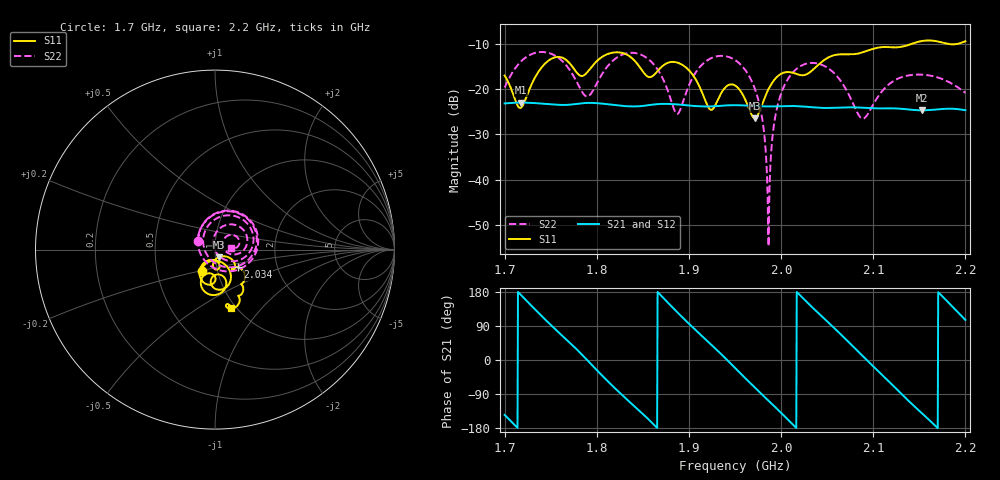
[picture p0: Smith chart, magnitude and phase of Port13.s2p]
# Hz S RI R 50
! CMT, CMT808U, 21440046, 21.4.3/4
! Date: 11/20/2025 11:41:35 PM
! Data: Format (Calibration Info)
! Freq	S11:Re/Im(F2)	S41:Re/Im(F2)	S14:Re/Im(F2)	S44:Re/Im(F2)
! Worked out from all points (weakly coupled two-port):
!   1001 points, 1.7 GHz to 2.2 GHz, reference 50 ohm
!   highest |S21| = -23.02 dB at 1.718 GHz (marker M1); lowest = -24.7 dB at 2.153 GHz (marker M2)
!   lowest |S11| = -26.5 dB at 1.972 GHz (marker M3), VSWR 1.10, Z = 51.8 - j4.46 ohm
!   |S11| at or under -10 dB: start of sweep to 2.142 GHz; 2.18 GHz to 2.193 GHz (12.65 MHz wide, 0.579 % of centre)
!   |S22| runs from -54.7 to -11.8 dB; largest |S21 - S12| = 0.00073
!   S11 on the Smith chart (normalised r, x): 1.7 GHz: 0.84, -0.20; 2.034 GHz: 1.26, -0.25; 2.2 GHz: 0.95, -0.69
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1.7e9  -0.0734 -0.1195  -0.0566 -0.0399  -0.0571 -0.0396  -0.0929 0.0458
1.718e9  0.00564 -0.062  -0.0697 0.0113  -0.0699 0.0119  0.00278 0.202
1.751e9  0.0684 -0.2047  -0.000437 0.0675  9.4e-05 0.0677  0.2405 0.037
1.7835e9  0.0117 -0.1384  0.067 0.0183  0.0673 0.0178  -0.0231 -0.0921
1.7925e9  0.0529 -0.1569  0.0695 -0.00927  0.0697 -0.00988  -0.0841 -0.0161
1.823e9  -0.0162 -0.2531  0.009 -0.0651  0.00843 -0.0654  0.073 0.2138
1.8455e9  -0.0754 -0.1641  -0.0433 -0.0476  -0.0439 -0.0473  0.2319 0.0756
1.867e9  0.0029 -0.1617  -0.068 0.00361  -0.0681 0.00425  0.1297 -0.0912
1.8875e9  -0.0606 -0.1855  -0.0393 0.0548  -0.039 0.0552  -0.0465 -0.0254
1.9235e9  -0.0127 -0.0576  0.0475 0.043  0.048 0.0426  0.11 0.187
1.95e9  0.000119 -0.1093  0.0618 -0.0235  0.0617 -0.0242  0.2079 0.0161
1.9715e9  0.0198 -0.0429  0.0192 -0.0619  0.0186 -0.0622  0.0784 -0.0633
1.98e9  0.059 -0.038  -0.003 -0.0642  -0.00366 -0.0643  0.0241 -0.0364
1.9865e9  0.0872 -0.0493  -0.0195 -0.061  -0.0202 -0.0609  -0.00172 0.000649
1.992e9  0.104 -0.0666  -0.0325 -0.0552  -0.0332 -0.055  -0.00954 0.0373
2e9  0.1118 -0.095  -0.0489 -0.042  -0.0494 -0.0416  0.00261 0.0886
2.0335e9  0.1259 -0.0977  -0.0479 0.0406  -0.0475 0.0411  0.1684 0.0958
2.0595e9  0.1624 -0.1738  0.0106 0.061  0.0112 0.061  0.1413 -0.0176
2.088e9  0.1532 -0.2013  0.0608 0.0125  0.061 0.012  0.0454 0.0121
2.117e9  0.1339 -0.2567  0.0336 -0.0509  0.0332 -0.0513  0.0785 0.0805
2.153e9  0.1219 -0.3155  -0.0451 -0.0366  -0.0455 -0.0361  0.1351 0.049
2.2e9  0.0874 -0.3245  -0.0157 0.056  -0.0152 0.0562  0.0899 0.00893
